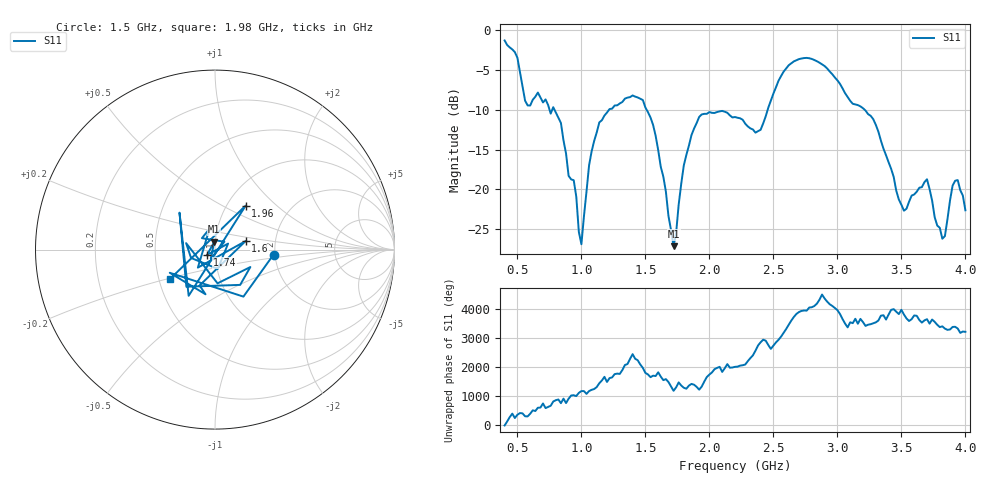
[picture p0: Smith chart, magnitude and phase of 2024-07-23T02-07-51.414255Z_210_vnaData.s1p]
!Created with skrf (http://scikit-rf.org).
# Hz S RI R 50.0
!freq ReS11 ImS11
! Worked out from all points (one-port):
!   181 points, 400 MHz to 4 GHz, reference 50 ohm
!   lowest |S11| = -27.1 dB at 1.72 GHz (marker M1), VSWR 1.09, Z = 49.4 + j4.34 ohm
!   |S11| at or under -10 dB: 790.6 MHz to 1.215 GHz (424.3 MHz wide, 42.3 % of centre); 1.51 GHz to 2.455 GHz (944.5 MHz wide, 47.6 % of centre); 3.215 GHz to end of sweep (the widest 3 of 4)
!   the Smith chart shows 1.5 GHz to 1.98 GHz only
!   S11 on the Smith chart (normalised r, x): 1.5 GHz: 1.96, -0.12; 1.6 GHz: 1.40, +0.14; 1.74 GHz: 0.91, -0.05; 1.96 GHz: 1.22, +0.66; 1.98 GHz: 0.57, -0.21
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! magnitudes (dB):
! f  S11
! 400 MHz  -1.3
! 500 MHz  -3.4
! 580 MHz  -9.4
! 720 MHz  -8.7
! 860 MHz  -13.8
! 940 MHz  -18.8
! 1 GHz  -26.9
! 1.1 GHz  -13.9
! 1.3 GHz  -9.2
! 1.5 GHz  -9.7
! 1.6 GHz  -15.1
! 1.72 GHz  -27.1
! 1.74 GHz  -25.5
! 1.76 GHz  -21.9
! 1.86 GHz  -13.2
! 1.96 GHz  -10.5
! 1.98 GHz  -10.5
! 2.2 GHz  -10.9
! 2.4 GHz  -12.5
! 2.66 GHz  -3.9
! 3.1 GHz  -8.9
! 3.28 GHz  -11.2
! 3.48 GHz  -21.3
! 3.56 GHz  -21.5
! 3.7 GHz  -18.7
! 3.82 GHz  -26.2
! 3.92 GHz  -18.9
! 4 GHz  -22.6
